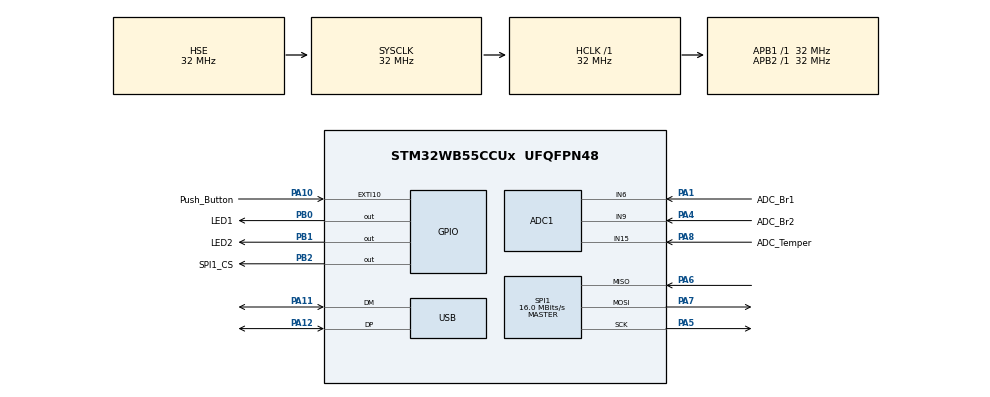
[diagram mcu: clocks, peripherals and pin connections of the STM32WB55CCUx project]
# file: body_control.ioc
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ADC1.Channel-1\#ChannelRegularConversion=ADC_CHANNEL_6
ADC1.Channel-2\#ChannelRegularConversion=ADC_CHANNEL_9
ADC1.Channel-3\#ChannelRegularConversion=ADC_CHANNEL_15
ADC1.ClockPrescaler=ADC_CLOCK_ASYNC_DIV2
ADC1.ContinuousConvMode=DISABLE
ADC1.DMAContinuousRequests=ENABLE
ADC1.EOCSelection=ADC_EOC_SEQ_CONV
ADC1.EnableInjectedConversion=ENABLE
ADC1.ExternalTrigConv=ADC_EXTERNALTRIG_T2_TRGO
ADC1.NbrOfConversion=3
ADC1.NbrOfConversionFlag=1
ADC1.OffsetNumber-1\#ChannelRegularConversion=ADC_OFFSET_NONE
ADC1.OffsetNumber-2\#ChannelRegularConversion=ADC_OFFSET_NONE
ADC1.OffsetNumber-3\#ChannelRegularConversion=ADC_OFFSET_NONE
ADC1.Overrun=ADC_OVR_DATA_OVERWRITTEN
ADC1.Rank-1\#ChannelRegularConversion=1
ADC1.Rank-2\#ChannelRegularConversion=2
ADC1.Rank-3\#ChannelRegularConversion=3
ADC1.SamplingTime-1\#ChannelRegularConversion=ADC_SAMPLETIME_2CYCLES_5
ADC1.SamplingTime-2\#ChannelRegularConversion=ADC_SAMPLETIME_2CYCLES_5
ADC1.SamplingTime-3\#ChannelRegularConversion=ADC_SAMPLETIME_2CYCLES_5
ADC1.master=1
Dma.ADC1.0.Direction=DMA_PERIPH_TO_MEMORY
Dma.ADC1.0.EventEnable=DISABLE
Dma.ADC1.0.Instance=DMA1_Channel1
Dma.ADC1.0.MemDataAlignment=DMA_MDATAALIGN_HALFWORD
Dma.ADC1.0.MemInc=DMA_MINC_ENABLE
Dma.ADC1.0.Mode=DMA_CIRCULAR
Dma.ADC1.0.PeriphDataAlignment=DMA_PDATAALIGN_HALFWORD
Dma.ADC1.0.PeriphInc=DMA_PINC_DISABLE
Dma.ADC1.0.Polarity=HAL_DMAMUX_REQ_GEN_RISING
Dma.ADC1.0.Priority=DMA_PRIORITY_LOW
Dma.ADC1.0.RequestNumber=1
Dma.ADC1.0.SignalID=NONE
Dma.ADC1.0.SyncEnable=DISABLE
Dma.ADC1.0.SyncPolarity=HAL_DMAMUX_SYNC_NO_EVENT
Dma.ADC1.0.SyncRequestNumber=1
Dma.ADC1.0.SyncSignalID=NONE
Dma.Request0=ADC1
Mcu.Family=STM32WB
Mcu.Name=STM32WB55CCUx
Mcu.Package=UFQFPN48
NVIC.ADC1_IRQn=true\:0\:0\:false\:false\:true\:true\:true
NVIC.DMA1_Channel1_IRQn=true\:0\:0\:false\:false\:true\:false\:true
NVIC.HSEM_IRQn=true\:0\:0\:false\:false\:true\:false\:true
NVIC.PriorityGroup=NVIC_PRIORITYGROUP_4
NVIC.TIM2_IRQn=true\:0\:0\:false\:false\:true\:true\:true
OSC_IN.Mode=HSE-External-Oscillator
OSC_IN.Signal=RCC_OSC_IN
OSC_OUT.Mode=HSE-External-Oscillator
OSC_OUT.Signal=RCC_OSC_OUT
PA1.GPIO_Label=ADC_Br1
PA1.Signal=ADCx_IN6
PA10.GPIO_Label=Push_Button
PA10.Signal=GPXTI10
PA11.Mode=Device
PA11.Signal=USB_DM
PA12.Mode=Device
PA12.Signal=USB_DP
PA13.Mode=Serial_Wire
PA13.Signal=SYS_JTMS-SWDIO
PA14.Mode=Serial_Wire
PA14.Signal=SYS_JTCK-SWCLK
PA4.GPIO_Label=ADC_Br2
PA4.Signal=ADCx_IN9
PA5.Mode=Full_Duplex_Master
PA5.Signal=SPI1_SCK
PA6.Mode=Full_Duplex_Master
PA6.Signal=SPI1_MISO
PA7.Mode=Full_Duplex_Master
PA7.Signal=SPI1_MOSI
PA8.GPIO_Label=ADC_Temper
PA8.Signal=ADCx_IN15
PB0.GPIO_Label=LED1
PB0.Signal=GPIO_Output
PB1.GPIO_Label=LED2
PB1.Signal=GPIO_Output
PB2.GPIO_Label=SPI1_CS
PB2.GPIO_Speed=GPIO_SPEED_FREQ_HIGH
PB2.PinState=GPIO_PIN_RESET
PB2.Signal=GPIO_Output
PC14-OSC32_IN.Mode=LSE-External-Oscillator
PC14-OSC32_IN.Signal=RCC_OSC32_IN
PC15-OSC32_OUT.Mode=LSE-External-Oscillator
PC15-OSC32_OUT.Signal=RCC_OSC32_OUT
ProjectManager.HeapSize=0x200
ProjectManager.StackSize=0x400
ProjectManager.TargetToolchain=SW4STM32
RCC.ADCFreq_Value=48000000
RCC.AHBFreq_Value=32000000
RCC.APB1Freq_Value=32000000
RCC.APB1TimFreq_Value=32000000
RCC.APB2Freq_Value=32000000
RCC.APB2TimFreq_Value=32000000
RCC.APB3Freq_Value=16000000
RCC.CK48CLockSelection=RCC_USBCLKSOURCE_HSI48
RCC.CortexFreq_Value=32000000
RCC.HCLKFreq_Value=32000000
RCC.HSE_VALUE=32000000
RCC.HSI48_VALUE=48000000
RCC.HSI_VALUE=16000000
RCC.PLLSAI1N=24
RCC.RFWKPClockSelection=RCC_RFWKPCLKSOURCE_LSE
RCC.RTCClockSelection=RCC_RTCCLKSOURCE_LSE
RCC.SYSCLKFreq_VALUE=32000000
RCC.SYSCLKSource=RCC_SYSCLKSOURCE_HSE
RCC.USBFreq_Value=48000000
RCC.VCOOutputFreq_Value=32000000
RF1.Mode=RF1_Activate
RF1.Signal=RF_RF1
SH.ADCx_IN15.0=ADC1_IN15,IN15-Single-Ended
SH.ADCx_IN6.0=ADC1_IN6,IN6-Single-Ended
SH.ADCx_IN9.0=ADC1_IN9,IN9-Single-Ended
SPI1.CalculateBaudRate=16.0 MBits/s
SPI1.Direction=SPI_DIRECTION_2LINES
SPI1.Mode=SPI_MODE_MASTER
SPI1.VirtualType=VM_MASTER
TIM2.Period=100
TIM2.Prescaler=31999
TIM2.TIM_MasterOutputTrigger=TIM_TRGO_UPDATE
VP_HSEM_VS_HSEM.Mode=HSEM_Activate
VP_RTC_VS_RTC_Activate.Mode=RTC_Enabled
VP_SEQUENCER_VS_SEQUENCER.Mode=SEQUENCER_Enabled
VP_STM32_WPAN_VS_BLE_HOST.Mode=STM32_WPAN_Enabled
VP_TIM2_VS_ClockSourceINT.Mode=Internal
VP_TINY_LPM_VS_TINY_LPM.Mode=TINY_LPM_Enabled
board=custom

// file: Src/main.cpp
/* USER CODE BEGIN Header */
/**
  ******************************************************************************
  * @file           : main.c
  * @brief          : Main program body
  ******************************************************************************
  * @attention
  *
  * <h2><center>&copy; Copyright (c) 2021 STMicroelectronics.
  * All rights reserved.</center></h2>
  *
  * This software component is licensed by ST under Ultimate Liberty license
  * SLA0044, the "License"; You may not use this file except in compliance with
  * the License. You may obtain a copy of the License at:
  *                             www.st.com/SLA0044
  *
  ******************************************************************************
  */
/* USER CODE END Header */
#include <main.h>
#include "app_entry.h"
#include "app_common.h"

/* USER CODE BEGIN Includes */
#include "stm32_seq.h"
#include "FRAM_MB85RS_SPI.h"
#include "p2p_server_app.h"
#include  "stdbool.h"
/* USER CODE END Includes */

ADC_HandleTypeDef hadc1;
DMA_HandleTypeDef hdma_adc1;

RTC_HandleTypeDef hrtc;

SPI_HandleTypeDef hspi1;

TIM_HandleTypeDef htim2;

PCD_HandleTypeDef hpcd_USB_FS;

/* USER CODE BEGIN PV */

uint32_t currentWriteaddress = 0x00;
uint32_t lastWriteaddress =0x00;
uint32_t maxWriteaddress;

uint32_t currentReadaddress = 0x00;

uint8_t value[4]={0};
volatile uint16_t  adc_buf[3];

FRAM_MB85RS_SPI fram(SPI1_CS_Pin, &hspi1);

/* USER CODE END PV */

void SystemClock_Config(void);
static void MX_GPIO_Init(void);
static void MX_DMA_Init(void);
static void MX_ADC1_Init(void);
static void MX_RF_Init(void);
static void MX_RTC_Init(void);
static void MX_SPI1_Init(void);
static void MX_USB_PCD_Init(void);
static void MX_TIM2_Init(void);

int main(void)
{

  /* MCU Configuration--------------------------------------------------------*/

  /* Reset of all peripherals, Initializes the Flash interface and the Systick. */
  HAL_Init();

  /* Configure the system clock */
  SystemClock_Config();

  /* Initialize all configured peripherals */
  MX_GPIO_Init();
  MX_DMA_Init();
  MX_ADC1_Init();
  MX_RF_Init();
  MX_RTC_Init();
  MX_SPI1_Init();
  MX_USB_PCD_Init();
  MX_TIM2_Init();

  /* Init code for STM32_WPAN */
  APPE_Init();
  /* Infinite loop */
  /* USER CODE BEGIN WHILE */
  //fram.init_Alter();

  fram.init();
  maxWriteaddress = fram.getMaxMemAdr();
  lastWriteaddress = maxWriteaddress;
  HAL_ADC_Start_DMA(&hadc1, (uint32_t*) adc_buf, 3);
  HAL_TIM_Base_Start_IT(&htim2);

  while (1)
  {
	  UTIL_SEQ_Run(UTIL_SEQ_DEFAULT);
    /* USER CODE END WHILE */

  }
}

void SystemClock_Config(void)
{
  RCC_OscInitTypeDef RCC_OscInitStruct = {0};
  RCC_ClkInitTypeDef RCC_ClkInitStruct = {0};
  RCC_PeriphCLKInitTypeDef PeriphClkInitStruct = {0};

  /** Macro to configure the PLL multiplication factor
  */
  __HAL_RCC_PLL_PLLM_CONFIG(RCC_PLLM_DIV1);
  /** Macro to configure the PLL clock source
  */
  __HAL_RCC_PLL_PLLSOURCE_CONFIG(RCC_PLLSOURCE_MSI);
  /** Configure LSE Drive Capability
  */
  HAL_PWR_EnableBkUpAccess();
  __HAL_RCC_LSEDRIVE_CONFIG(RCC_LSEDRIVE_LOW);
  /** Configure the main internal regulator output voltage
  */
  __HAL_PWR_VOLTAGESCALING_CONFIG(PWR_REGULATOR_VOLTAGE_SCALE1);
  /** Initializes the RCC Oscillators according to the specified parameters
  * in the RCC_OscInitTypeDef structure.
  */
  RCC_OscInitStruct.OscillatorType = RCC_OSCILLATORTYPE_HSI48|RCC_OSCILLATORTYPE_HSI
                              |RCC_OSCILLATORTYPE_HSE|RCC_OSCILLATORTYPE_LSE
                              |RCC_OSCILLATORTYPE_MSI;
  RCC_OscInitStruct.HSEState = RCC_HSE_ON;
  RCC_OscInitStruct.LSEState = RCC_LSE_ON;
  RCC_OscInitStruct.HSIState = RCC_HSI_ON;
  RCC_OscInitStruct.MSIState = RCC_MSI_ON;
  RCC_OscInitStruct.HSI48State = RCC_HSI48_ON;
  RCC_OscInitStruct.HSICalibrationValue = RCC_HSICALIBRATION_DEFAULT;
  RCC_OscInitStruct.MSICalibrationValue = RCC_MSICALIBRATION_DEFAULT;
  RCC_OscInitStruct.MSIClockRange = RCC_MSIRANGE_6;
  RCC_OscInitStruct.PLL.PLLState = RCC_PLL_NONE;
  if (HAL_RCC_OscConfig(&RCC_OscInitStruct) != HAL_OK)
  {
    Error_Handler();
  }
  /** Configure the SYSCLKSource, HCLK, PCLK1 and PCLK2 clocks dividers
  */
  RCC_ClkInitStruct.ClockType = RCC_CLOCKTYPE_HCLK4|RCC_CLOCKTYPE_HCLK2
                              |RCC_CLOCKTYPE_HCLK|RCC_CLOCKTYPE_SYSCLK
                              |RCC_CLOCKTYPE_PCLK1|RCC_CLOCKTYPE_PCLK2;
  RCC_ClkInitStruct.SYSCLKSource = RCC_SYSCLKSOURCE_HSE;
  RCC_ClkInitStruct.AHBCLKDivider = RCC_SYSCLK_DIV1;
  RCC_ClkInitStruct.APB1CLKDivider = RCC_HCLK_DIV1;
  RCC_ClkInitStruct.APB2CLKDivider = RCC_HCLK_DIV1;
  RCC_ClkInitStruct.AHBCLK2Divider = RCC_SYSCLK_DIV1;
  RCC_ClkInitStruct.AHBCLK4Divider = RCC_SYSCLK_DIV1;

  if (HAL_RCC_ClockConfig(&RCC_ClkInitStruct, FLASH_LATENCY_1) != HAL_OK)
  {
    Error_Handler();
  }
  /** Initializes the peripherals clocks
  */
  PeriphClkInitStruct.PeriphClockSelection = RCC_PERIPHCLK_SMPS|RCC_PERIPHCLK_RFWAKEUP
                              |RCC_PERIPHCLK_RTC|RCC_PERIPHCLK_USB
                              |RCC_PERIPHCLK_ADC;
  PeriphClkInitStruct.PLLSAI1.PLLN = 24;
  PeriphClkInitStruct.PLLSAI1.PLLP = RCC_PLLP_DIV2;
  PeriphClkInitStruct.PLLSAI1.PLLQ = RCC_PLLQ_DIV2;
  PeriphClkInitStruct.PLLSAI1.PLLR = RCC_PLLR_DIV2;
  PeriphClkInitStruct.PLLSAI1.PLLSAI1ClockOut = RCC_PLLSAI1_ADCCLK;
  PeriphClkInitStruct.UsbClockSelection = RCC_USBCLKSOURCE_HSI48;
  PeriphClkInitStruct.AdcClockSelection = RCC_ADCCLKSOURCE_PLLSAI1;
  PeriphClkInitStruct.RTCClockSelection = RCC_RTCCLKSOURCE_LSE;
  PeriphClkInitStruct.RFWakeUpClockSelection = RCC_RFWKPCLKSOURCE_LSE;
  PeriphClkInitStruct.SmpsClockSelection = RCC_SMPSCLKSOURCE_HSI;
  PeriphClkInitStruct.SmpsDivSelection = RCC_SMPSCLKDIV_RANGE1;
  if (HAL_RCCEx_PeriphCLKConfig(&PeriphClkInitStruct) != HAL_OK)
  {
    Error_Handler();
  }
}

static void MX_ADC1_Init(void)
{

  ADC_ChannelConfTypeDef sConfig = {0};

  /** Common config
  */
  hadc1.Instance = ADC1;
  hadc1.Init.ClockPrescaler = ADC_CLOCK_ASYNC_DIV2;
  hadc1.Init.Resolution = ADC_RESOLUTION_12B;
  hadc1.Init.DataAlign = ADC_DATAALIGN_RIGHT;
  hadc1.Init.ScanConvMode = ADC_SCAN_ENABLE;
  hadc1.Init.EOCSelection = ADC_EOC_SEQ_CONV;
  hadc1.Init.LowPowerAutoWait = DISABLE;
  hadc1.Init.ContinuousConvMode = DISABLE;
  hadc1.Init.NbrOfConversion = 3;
  hadc1.Init.DiscontinuousConvMode = DISABLE;
  hadc1.Init.ExternalTrigConv = ADC_EXTERNALTRIG_T2_TRGO;
  hadc1.Init.ExternalTrigConvEdge = ADC_EXTERNALTRIGCONVEDGE_RISING;
  hadc1.Init.DMAContinuousRequests = ENABLE;
  hadc1.Init.Overrun = ADC_OVR_DATA_OVERWRITTEN;
  hadc1.Init.OversamplingMode = DISABLE;
  if (HAL_ADC_Init(&hadc1) != HAL_OK)
  {
    Error_Handler();
  }
  /** Configure Regular Channel
  */
  sConfig.Channel = ADC_CHANNEL_6;
  sConfig.Rank = ADC_REGULAR_RANK_1;
  sConfig.SamplingTime = ADC_SAMPLETIME_2CYCLES_5;
  sConfig.SingleDiff = ADC_SINGLE_ENDED;
  sConfig.OffsetNumber = ADC_OFFSET_NONE;
  sConfig.Offset = 0;
  if (HAL_ADC_ConfigChannel(&hadc1, &sConfig) != HAL_OK)
  {
    Error_Handler();
  }
  /** Configure Regular Channel
  */
  sConfig.Channel = ADC_CHANNEL_9;
  sConfig.Rank = ADC_REGULAR_RANK_2;
  if (HAL_ADC_ConfigChannel(&hadc1, &sConfig) != HAL_OK)
  {
    Error_Handler();
  }
  /** Configure Regular Channel
  */
  sConfig.Channel = ADC_CHANNEL_15;
  sConfig.Rank = ADC_REGULAR_RANK_3;
  if (HAL_ADC_ConfigChannel(&hadc1, &sConfig) != HAL_OK)
  {
    Error_Handler();
  }

}

static void MX_RF_Init(void)
{

}

static void MX_RTC_Init(void)
{

  /** Initialize RTC Only
  */
  hrtc.Instance = RTC;
  hrtc.Init.HourFormat = RTC_HOURFORMAT_24;
  hrtc.Init.AsynchPrediv = CFG_RTC_ASYNCH_PRESCALER;
  hrtc.Init.SynchPrediv = CFG_RTC_SYNCH_PRESCALER;
  hrtc.Init.OutPut = RTC_OUTPUT_DISABLE;
  hrtc.Init.OutPutPolarity = RTC_OUTPUT_POLARITY_HIGH;
  hrtc.Init.OutPutType = RTC_OUTPUT_TYPE_OPENDRAIN;
  hrtc.Init.OutPutRemap = RTC_OUTPUT_REMAP_NONE;
  if (HAL_RTC_Init(&hrtc) != HAL_OK)
  {
    Error_Handler();
  }

}

static void MX_SPI1_Init(void)
{

  /* SPI1 parameter configuration*/
	      hspi1.Instance = SPI1;
		  hspi1.Init.Mode = SPI_MODE_MASTER;
		  hspi1.Init.Direction = SPI_DIRECTION_2LINES;
		  hspi1.Init.DataSize = SPI_DATASIZE_8BIT;
		  hspi1.Init.CLKPolarity = SPI_POLARITY_LOW;
		  hspi1.Init.CLKPhase = SPI_PHASE_1EDGE;
		  hspi1.Init.NSS = SPI_NSS_SOFT;
		  hspi1.Init.BaudRatePrescaler = SPI_BAUDRATEPRESCALER_32;
		  hspi1.Init.FirstBit = SPI_FIRSTBIT_MSB;
		  hspi1.Init.TIMode = SPI_TIMODE_DISABLE;
		  hspi1.Init.CRCCalculation = SPI_CRCCALCULATION_DISABLE;
		  hspi1.Init.CRCPolynomial = 7;
		  hspi1.Init.CRCLength = SPI_CRC_LENGTH_DATASIZE;
		  hspi1.Init.NSSPMode = SPI_NSS_PULSE_ENABLE;
  if (HAL_SPI_Init(&hspi1) != HAL_OK)
  {
    Error_Handler();
  }

}

static void MX_TIM2_Init(void)
{

  TIM_ClockConfigTypeDef sClockSourceConfig = {0};
  TIM_MasterConfigTypeDef sMasterConfig = {0};

  htim2.Instance = TIM2;
  htim2.Init.Prescaler = 31999;
  htim2.Init.CounterMode = TIM_COUNTERMODE_UP;
  htim2.Init.Period = 300;
  htim2.Init.ClockDivision = TIM_CLOCKDIVISION_DIV1;
  htim2.Init.AutoReloadPreload = TIM_AUTORELOAD_PRELOAD_DISABLE;
  if (HAL_TIM_Base_Init(&htim2) != HAL_OK)
  {
    Error_Handler();
  }
  sClockSourceConfig.ClockSource = TIM_CLOCKSOURCE_INTERNAL;
  if (HAL_TIM_ConfigClockSource(&htim2, &sClockSourceConfig) != HAL_OK)
  {
    Error_Handler();
  }
  sMasterConfig.MasterOutputTrigger = TIM_TRGO_UPDATE;
  sMasterConfig.MasterSlaveMode = TIM_MASTERSLAVEMODE_DISABLE;
  if (HAL_TIMEx_MasterConfigSynchronization(&htim2, &sMasterConfig) != HAL_OK)
  {
    Error_Handler();
  }

}

static void MX_USB_PCD_Init(void)
{

  hpcd_USB_FS.Instance = USB;
  hpcd_USB_FS.Init.dev_endpoints = 8;
  hpcd_USB_FS.Init.speed = PCD_SPEED_FULL;
  hpcd_USB_FS.Init.phy_itface = PCD_PHY_EMBEDDED;
  hpcd_USB_FS.Init.Sof_enable = DISABLE;
  hpcd_USB_FS.Init.low_power_enable = DISABLE;
  hpcd_USB_FS.Init.lpm_enable = DISABLE;
  hpcd_USB_FS.Init.battery_charging_enable = DISABLE;
  if (HAL_PCD_Init(&hpcd_USB_FS) != HAL_OK)
  {
    Error_Handler();
  }

}

static void MX_DMA_Init(void)
{

  /* DMA controller clock enable */
  __HAL_RCC_DMAMUX1_CLK_ENABLE();
  __HAL_RCC_DMA1_CLK_ENABLE();

  /* DMA interrupt init */
  /* DMA1_Channel1_IRQn interrupt configuration */
  HAL_NVIC_SetPriority(DMA1_Channel1_IRQn, 0, 0);
  HAL_NVIC_EnableIRQ(DMA1_Channel1_IRQn);

}

static void MX_GPIO_Init(void)
{
  GPIO_InitTypeDef GPIO_InitStruct = {0};

  /* GPIO Ports Clock Enable */
  __HAL_RCC_GPIOC_CLK_ENABLE();
  __HAL_RCC_GPIOA_CLK_ENABLE();
  __HAL_RCC_GPIOB_CLK_ENABLE();

  /*Configure GPIO pin Output Level */
  HAL_GPIO_WritePin(GPIOB, SPI1_CS_Pin|LED1_Pin|LED2_Pin, GPIO_PIN_RESET);

  /*Configure GPIO pin : SPI1_CS_Pin */
  GPIO_InitStruct.Pin = SPI1_CS_Pin;
  GPIO_InitStruct.Mode = GPIO_MODE_OUTPUT_PP;
  GPIO_InitStruct.Pull = GPIO_NOPULL;
  GPIO_InitStruct.Speed = GPIO_SPEED_FREQ_HIGH;
  HAL_GPIO_Init(SPI1_CS_GPIO_Port, &GPIO_InitStruct);

  /*Configure GPIO pins : LED1_Pin LED2_Pin */
  GPIO_InitStruct.Pin = LED1_Pin|LED2_Pin;
  GPIO_InitStruct.Mode = GPIO_MODE_OUTPUT_PP;
  GPIO_InitStruct.Pull = GPIO_NOPULL;
  GPIO_InitStruct.Speed = GPIO_SPEED_FREQ_LOW;
  HAL_GPIO_Init(GPIOB, &GPIO_InitStruct);

  /*Configure GPIO pin : Push_Button_Pin */
  GPIO_InitStruct.Pin = Push_Button_Pin;
  GPIO_InitStruct.Mode = GPIO_MODE_IT_RISING;
  GPIO_InitStruct.Pull = GPIO_NOPULL;
  HAL_GPIO_Init(Push_Button_GPIO_Port, &GPIO_InitStruct);

}

/* USER CODE BEGIN 4 */
void HAL_ADC_ConvCpltCallback(ADC_HandleTypeDef* hadc)
{

	  value[0] = (uint8_t)(adc_buf[0] & 0x00FF);
	  value[1] = (uint8_t)(adc_buf[0] >> 8);
	  value[2] = (uint8_t)(adc_buf[1] & 0x00FF);
	  value[3] = (uint8_t)(adc_buf[1] >> 8);
	  //value[4] = (uint8_t)(adc_buf[2] & 0x00FF);
	  //value[5] = (uint8_t)(adc_buf[2] >> 8);

	  if(flag==0x01){
		  if(currentWriteaddress+0x000004<maxWriteaddress){
		  fram.writeArray(currentWriteaddress, value, 0x000004);
		  lastWriteaddress = fram.getLastMemAdr();
		  currentWriteaddress = currentWriteaddress + 0x000004;
		  }
	    }
	  if(flag==0x00){
		  UTIL_SEQ_SetTask( 1<<CFG_TASK_RECEIVE_ADC_ID, CFG_SCH_PRIO_0);
	    }

}

bool Read_Data_From_Memory(uint8_t *data){
 fram.readArray(currentReadaddress, data, 0x04);
 currentReadaddress = currentReadaddress +0x04;
 if(currentReadaddress<lastWriteaddress-0x04){
	 return true;
 }else{
	 return false;
 }

}

bool Write_Data_Time_To_Memory(uint8_t *value){
 if(fram.writeArray(currentWriteaddress, value, 16)){
	 lastWriteaddress = fram.getLastMemAdr();
	 currentWriteaddress = currentWriteaddress + 0x000010;
	 return true;
 }else{
	 return false;
 }

}

/* USER CODE END 4 */

void Error_Handler(void)
{
  __disable_irq();
  while (1)
  {
  }
}

/************************ (C) COPYRIGHT STMicroelectronics *****END OF FILE****/
